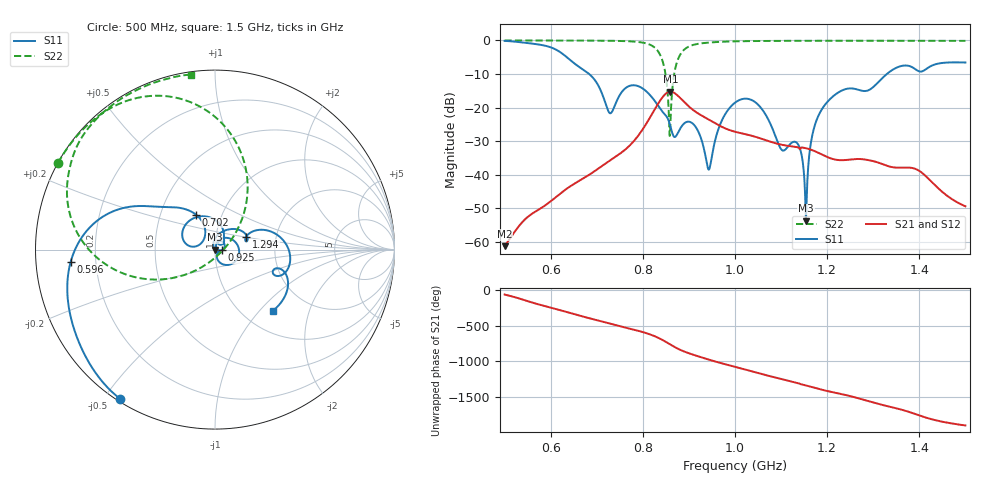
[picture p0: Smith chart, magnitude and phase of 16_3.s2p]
! TOUCHSTONE file generated by CST MICROWAVE STUDIO
! Date and time: Fri Oct 30 07:54:46 2020
! Project name: Scenario_1_Circular_Tissue_out_of_Line.cst
! Parameters = {dy1=-85.885; L_HA=400; MT=2.54; Rad_Dielectric=30; Rad_Lower=7.3; Rad_Upper=30; a_HA=580; a_WG=246; b_HA=500; b_WG=121; c_HA=0; c_WG=187; d_feed=85; dx1=520; h_feed=15; h_lower=18; h_upper=40}
! Header version: 2018
! Port assignment regex: !\s*Touchstone port\s*([0-9]+)\s*=\s*(CST MWS port|CST DS port)\s*([0-9]+|Zmin|Zmax)\s*\(\"(.*)\"\)(\s*mode\s*([0-9]+))?.*
! Touchstone port assignment:
! Touchstone port 1 = CST MWS port 1 ("")
! Touchstone port 2 = CST MWS port 2 ("")
# GHz S DB R 50
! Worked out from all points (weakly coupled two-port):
!   1001 points, 500 MHz to 1.5 GHz, reference 50 ohm
!   highest |S21| = -15.27 dB at 860 MHz (marker M1); lowest = -61.3 dB at 500 MHz (marker M2)
!   lowest |S11| = -53.7 dB at 1.154 GHz (marker M3), VSWR 1.00, Z = 49.8 - j0.119 ohm
!   |S11| at or under -10 dB: 683.5 MHz to 1.33 GHz (646 MHz wide, 64.2 % of centre)
!   |S22| runs from -28.4 to 0.0 dB; largest |S21 - S12| = 0.0019
!   S11 on the Smith chart (normalised r, x): 500 MHz: 0.01, -0.55; 596 MHz: 0.11, -0.04; 702 MHz: 0.75, +0.31; 925 MHz: 1.08, -0.01; 1.294 GHz: 1.40, +0.21; 1.5 GHz: 1.35, -1.18
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0.5  -0.13 -122.5  -61.25 -61.0  -61.25 -61.0  -0.01 151.1
0.596  -1.87 -175.2  -48.31 121.7  -48.31 121.7  -0.02 144.4
0.667  -8.37 141.4  -41.40 -6.2  -41.40 -6.2  -0.04 138.4
0.702  -13.09 118.5  -38.28 -65.8  -38.28 -65.8  -0.07 134.6
0.729  -21.69 144.7  -35.69 -112.9  -35.69 -112.9  -0.10 131.0
0.776  -13.37 140.6  -30.64 170.4  -30.64 170.4  -0.30 121.5
0.834  -19.58 62.1  -18.65 47.1  -18.65 47.1  -3.44 84.1
0.86  -25.67 36.1  -15.27 -47.6  -15.27 -47.6  -24.05 -106.5
0.879  -26.78 65.7  -16.86 -114.5  -16.86 -114.5  -4.77 -169.3
0.925  -28.65 -5.8  -22.16 137.6  -22.16 137.6  -0.90 155.9
0.944  -38.36 39.7  -23.65 99.5  -23.65 99.5  -0.63 150.3
0.968  -24.93 67.8  -25.49 54.7  -25.49 54.7  -0.42 145.3
1  -18.54 23.1  -27.18 0.2  -27.18 0.2  -0.27 140.3
1.05  -19.11 -50.6  -28.94 -88.0  -28.94 -88.0  -0.17 134.4
1.102  -32.66 -48.8  -31.08 -174.5  -31.07 -174.7  -0.13 129.6
1.135  -30.59 -29.7  -31.78 131.7  -31.47 129.8  -0.11 126.8
1.154  -53.66 -144.9  -32.10 96.4  -32.12 96.2  -0.10 125.3
1.167  -28.72 104.5  -32.63 72.9  -32.66 72.7  -0.10 124.2
1.213  -16.62 51.0  -35.33 0.3  -35.33 0.2  -0.08 120.7
1.294  -14.51 22.5  -35.75 -131.8  -35.75 -132.0  -0.08 114.5
1.334  -9.51 16.9  -37.51 159.4  -37.50 159.4  -0.08 111.5
1.5  -6.57 -46.7  -49.38 -107.2  -49.31 -107.9  -0.13 97.9
